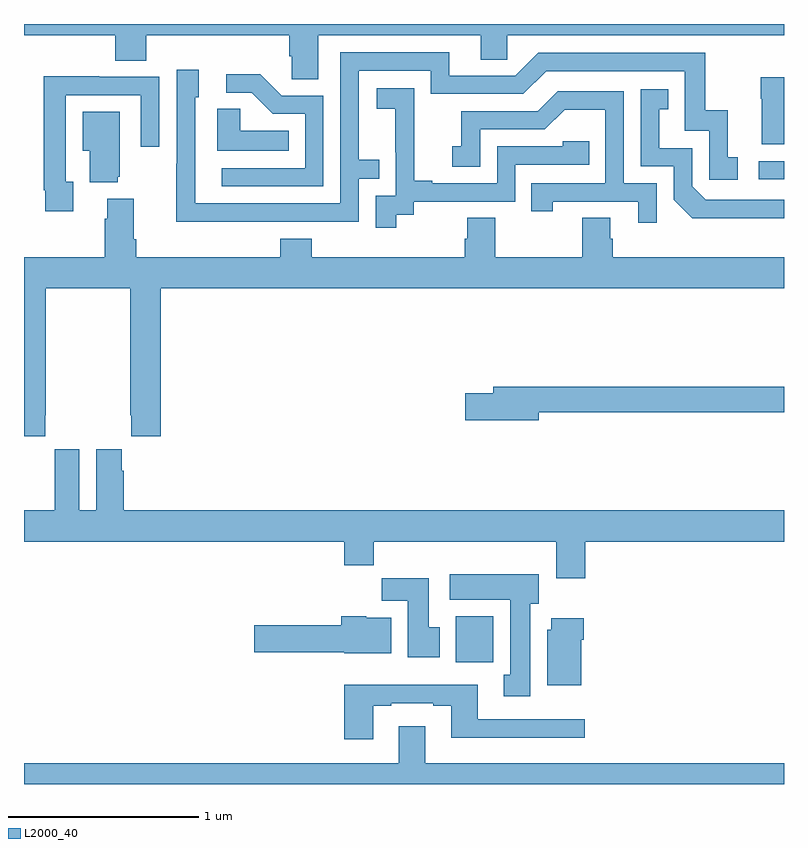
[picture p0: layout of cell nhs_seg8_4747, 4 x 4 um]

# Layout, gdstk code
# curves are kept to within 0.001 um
import gdstk
lib = gdstk.Library(unit=1e-6, precision=1e-09)
def R(c, l, rs):  # rectangles x0, y0, x1, y1
    for r in rs: c.add(gdstk.rectangle(r[:2], r[2:], *l))
def P(c, l, *ps):  # polygons
    for p in ps: c.add(gdstk.Polygon(p, *l))
L2000_40 = (2000, 40)

nhs_seg8_4747 = lib.new_cell('nhs_seg8_4747')
R(nhs_seg8_4747, L2000_40, [(401.273,1106.54,401.47,1106.782), (402.867,1109.082,403,1109.178)])
P(nhs_seg8_4747, L2000_40, [(400.549,1109.84),(401.405,1109.84),(401.405,1109.713),(401.544,1109.713),(401.544,1109.84),(403,1109.84),(403,1109.9),(399,1109.9),(399,1109.84),(399.479,1109.84),(399.479,1109.707),(399.644,1109.707),(399.644,1109.84),(400.397,1109.84),(400.397,1109.731),(400.41,1109.731),(400.41,1109.608),(400.549,1109.608)],
  [(400.265,1108.86),(400.761,1108.86),(400.761,1109.085),(400.871,1109.085),(400.871,1109.186),(400.761,1109.186),(400.761,1109.655),(401.142,1109.655),(401.142,1109.532),(401.628,1109.532),(401.748,1109.652),(402.477,1109.652),(402.477,1109.337),(402.606,1109.337),(402.606,1109.079),(402.757,1109.079),(402.757,1109.199),(402.704,1109.199),(402.704,1109.446),(402.586,1109.446),(402.586,1109.748),(401.706,1109.748),(401.586,1109.628),(401.239,1109.628),(401.239,1109.751),(400.665,1109.751),(400.665,1108.956),(399.9,1108.956),(399.9,1109.514),(399.919,1109.514),(399.919,1109.659),(399.804,1109.659),(399.804,1109.165),(399.802,1109.165),(399.802,1108.859)],
  [(400.575,1109.523),(400.356,1109.523),(400.243,1109.636),(400.065,1109.636),(400.065,1109.538),(400.199,1109.538),(400.31,1109.427),(400.479,1109.427),(400.479,1109.142),(400.041,1109.142),(400.041,1109.046),(400.575,1109.046)],
  [(399.259,1109.07),(399.219,1109.07),(399.219,1109.526),(399.615,1109.526),(399.615,1109.253),(399.711,1109.253),(399.711,1109.622),(399.395,1109.622),(399.395,1109.624),(399.103,1109.624),(399.103,1109.026),(399.111,1109.026),(399.111,1108.914),(399.259,1108.914)],
  [(403,1109.62),(402.877,1109.62),(402.877,1109.507),(402.884,1109.507),(402.884,1109.267),(403,1109.267)],
  [(400.96,1108.897),(401.052,1108.897),(401.052,1108.965),(401.586,1108.965),(401.586,1109.16),(401.975,1109.16),(401.975,1109.283),(401.835,1109.283),(401.835,1109.256),(401.49,1109.256),(401.49,1109.061),(401.149,1109.061),(401.149,1109.074),(401.054,1109.074),(401.054,1109.357),(401.055,1109.357),(401.055,1109.563),(400.857,1109.563),(400.857,1109.453),(400.955,1109.453),(400.955,1109.225),(400.956,1109.225),(400.956,1108.995),(400.851,1108.995),(400.851,1108.827),(400.96,1108.827)],
  [(402.926,1108.878),(403,1108.878),(403,1108.974),(402.588,1108.974),(402.516,1109.046),(402.516,1109.247),(402.343,1109.247),(402.343,1109.451),(402.392,1109.451),(402.392,1109.557),(402.246,1109.557),(402.246,1109.151),(402.42,1109.151),(402.42,1108.974),(402.518,1108.877)],
  [(402.33,1109.061),(402.156,1109.061),(402.156,1109.547),(401.81,1109.547),(401.705,1109.442),(401.302,1109.442),(401.302,1109.257),(401.253,1109.257),(401.253,1109.148),(401.4,1109.148),(401.4,1109.346),(401.742,1109.346),(401.846,1109.45),(402.06,1109.45),(402.06,1109.061),(401.671,1109.061),(401.671,1108.914),(401.782,1108.914),(401.782,1108.965),(402.233,1108.965),(402.233,1108.854),(402.33,1108.854)],
  [(400.394,1109.338),(400.137,1109.338),(400.137,1109.453),(400.016,1109.453),(400.016,1109.234),(400.394,1109.234)],
  [(399.494,1109.097),(399.505,1109.097),(399.505,1109.437),(399.308,1109.437),(399.308,1109.234),(399.347,1109.234),(399.347,1109.066),(399.494,1109.066)],
  [(399.559,1107.841),(399.565,1107.841),(399.565,1107.729),(399.719,1107.729),(399.719,1108.508),(403,1108.508),(403,1108.672),(402.098,1108.672),(402.098,1108.77),(402.085,1108.77),(402.085,1108.88),(401.938,1108.88),(401.938,1108.672),(401.481,1108.672),(401.481,1108.88),(401.333,1108.88),(401.333,1108.77),(401.321,1108.77),(401.321,1108.672),(400.514,1108.672),(400.514,1108.771),(400.349,1108.771),(400.349,1108.672),(399.59,1108.672),(399.59,1108.768),(399.577,1108.768),(399.577,1108.981),(399.437,1108.981),(399.437,1108.874),(399.425,1108.874),(399.425,1108.672),(399,1108.672),(399,1107.729),(399.111,1107.729),(399.111,1107.841),(399.114,1107.841),(399.114,1108.508),(399.559,1108.508)],
  [(401.71,1107.856),(403,1107.856),(403,1107.992),(401.471,1107.992),(401.471,1107.956),(401.322,1107.956),(401.322,1107.814),(401.71,1107.814)],
  [(401.954,1107.176),(403,1107.176),(403,1107.34),(399.524,1107.34),(399.524,1107.548),(399.514,1107.548),(399.514,1107.661),(399.38,1107.661),(399.38,1107.34),(399.292,1107.34),(399.292,1107.661),(399.162,1107.661),(399.162,1107.548),(399.161,1107.548),(399.161,1107.34),(399,1107.34),(399,1107.176),(400.685,1107.176),(400.685,1107.052),(400.841,1107.052),(400.841,1107.176),(401.801,1107.176),(401.801,1106.982),(401.954,1106.982)],
  [(401.665,1106.85),(401.71,1106.85),(401.71,1107.004),(401.241,1107.004),(401.241,1106.87),(401.558,1106.87),(401.558,1106.474),(401.525,1106.474),(401.525,1106.361),(401.665,1106.361)],
  [(401.188,1106.724),(401.131,1106.724),(401.131,1106.983),(400.882,1106.983),(400.882,1106.864),(401.021,1106.864),(401.021,1106.568),(401.188,1106.568)],
  [(400.933,1106.776),(400.8,1106.776),(400.8,1106.782),(400.67,1106.782),(400.67,1106.736),(400.212,1106.736),(400.212,1106.594),(400.686,1106.594),(400.686,1106.588),(400.933,1106.588)],
  [(401.932,1106.66),(401.945,1106.66),(401.945,1106.773),(401.774,1106.773),(401.774,1106.712),(401.753,1106.712),(401.753,1106.42),(401.932,1106.42)],
  [(400.837,1106.313),(400.933,1106.313),(400.933,1106.325),(401.153,1106.325),(401.153,1106.313),(401.249,1106.313),(401.249,1106.144),(401.95,1106.144),(401.95,1106.241),(401.389,1106.241),(401.389,1106.422),(400.685,1106.422),(400.685,1106.136),(400.837,1106.136)],
  [(403,1106.008),(401.113,1106.008),(401.113,1106.203),(400.973,1106.203),(400.973,1106.008),(399,1106.008),(399,1105.9),(403,1105.9)])

lib.write_gds('nhs_seg8_4747.gds')
